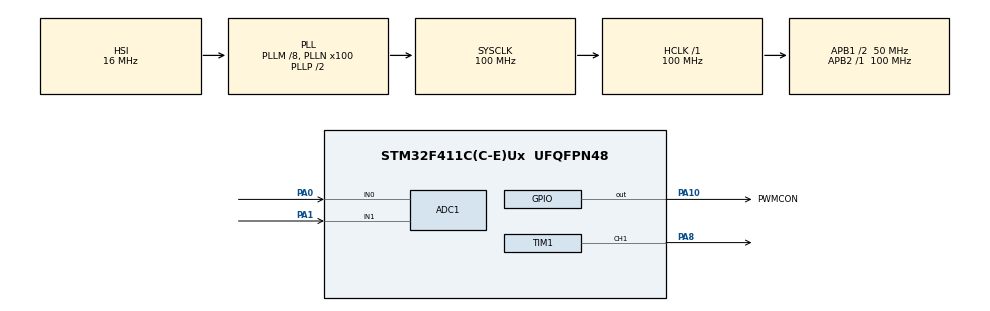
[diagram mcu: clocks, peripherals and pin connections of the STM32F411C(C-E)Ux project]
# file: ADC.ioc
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ADC1.Channel-0\#ChannelRegularConversion=ADC_CHANNEL_0
ADC1.Channel-1\#ChannelRegularConversion=ADC_CHANNEL_1
ADC1.ClockPrescaler=ADC_CLOCK_SYNC_PCLK_DIV6
ADC1.ContinuousConvMode=ENABLE
ADC1.DMAContinuousRequests=ENABLE
ADC1.NbrOfConversion=2
ADC1.NbrOfConversionFlag=1
ADC1.Rank-0\#ChannelRegularConversion=1
ADC1.Rank-1\#ChannelRegularConversion=2
ADC1.SamplingTime-0\#ChannelRegularConversion=ADC_SAMPLETIME_480CYCLES
ADC1.SamplingTime-1\#ChannelRegularConversion=ADC_SAMPLETIME_480CYCLES
ADC1.master=1
Dma.ADC1.0.Direction=DMA_PERIPH_TO_MEMORY
Dma.ADC1.0.FIFOMode=DMA_FIFOMODE_DISABLE
Dma.ADC1.0.Instance=DMA2_Stream0
Dma.ADC1.0.MemDataAlignment=DMA_MDATAALIGN_HALFWORD
Dma.ADC1.0.MemInc=DMA_MINC_ENABLE
Dma.ADC1.0.Mode=DMA_CIRCULAR
Dma.ADC1.0.PeriphDataAlignment=DMA_PDATAALIGN_HALFWORD
Dma.ADC1.0.PeriphInc=DMA_PINC_DISABLE
Dma.ADC1.0.Priority=DMA_PRIORITY_LOW
Dma.Request0=ADC1
Mcu.Family=STM32F4
Mcu.Name=STM32F411C(C-E)Ux
Mcu.Package=UFQFPN48
NVIC.DMA2_Stream0_IRQn=true\:0\:0\:false\:false\:true\:false\:true\:true
NVIC.PriorityGroup=NVIC_PRIORITYGROUP_4
NVIC.TIM2_IRQn=true\:0\:0\:false\:false\:true\:true\:true\:true
PA0-WKUP.Signal=ADCx_IN0
PA1.Signal=ADCx_IN1
PA10.GPIO_Label=PWMCON
PA10.PinState=GPIO_PIN_RESET
PA10.Signal=GPIO_Output
PA13.Mode=Serial_Wire
PA13.Signal=SYS_JTMS-SWDIO
PA14.Mode=Serial_Wire
PA14.Signal=SYS_JTCK-SWCLK
PA8.Signal=S_TIM1_CH1
PH0\ -\ OSC_IN.Mode=HSE-External-Oscillator
PH0\ -\ OSC_IN.Signal=RCC_OSC_IN
PH1\ -\ OSC_OUT.Mode=HSE-External-Oscillator
PH1\ -\ OSC_OUT.Signal=RCC_OSC_OUT
ProjectManager.HeapSize=0x200
ProjectManager.StackSize=0x400
ProjectManager.TargetToolchain=CMake
RCC.48MHZClocksFreq_Value=50000000
RCC.AHBFreq_Value=100000000
RCC.APB1CLKDivider=RCC_HCLK_DIV2
RCC.APB1Freq_Value=50000000
RCC.APB1TimFreq_Value=100000000
RCC.APB2Freq_Value=100000000
RCC.APB2TimFreq_Value=100000000
RCC.CortexFreq_Value=100000000
RCC.HCLKFreq_Value=100000000
RCC.HSE_VALUE=25000000
RCC.HSI_VALUE=16000000
RCC.LSE_VALUE=32768
RCC.PLLM=8
RCC.PLLN=100
RCC.SYSCLKFreq_VALUE=100000000
RCC.SYSCLKSource=RCC_SYSCLKSOURCE_PLLCLK
RCC.VCOOutputFreq_Value=200000000
SH.ADCx_IN0.0=ADC1_IN0,IN0
SH.ADCx_IN1.0=ADC1_IN1,IN1
SH.S_TIM1_CH1.0=TIM1_CH1,PWM Generation1 CH1
TIM1.Channel-PWM\ Generation1\ CH1=TIM_CHANNEL_1
TIM1.Period=200-1
TIM1.Prescaler=4
TIM2.Period=1000-1
TIM2.Prescaler=100-1
VP_TIM1_VS_ClockSourceINT.Mode=Internal
VP_TIM2_VS_ClockSourceINT.Mode=Internal
board=custom

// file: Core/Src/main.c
/* USER CODE BEGIN Header */
/**
 ******************************************************************************
 * @file           : main.c
 * @brief          : Main program body
 ******************************************************************************
 * @attention
 *
 * Copyright (c) 2025 STMicroelectronics.
 * All rights reserved.
 *
 * This software is licensed under terms that can be found in the LICENSE file
 * in the root directory of this software component.
 * If no LICENSE file comes with this software, it is provided AS-IS.
 *
 ******************************************************************************
 */
/* USER CODE END Header */
#include "main.h"
#include "adc.h"
#include "dma.h"
#include "tim.h"
#include "gpio.h"

/* USER CODE BEGIN PD */
#define CONTROL_PERIOD_S (0.001f) // 控制周期 1 ms
/* USER CODE END PD */

/* USER CODE BEGIN PV */
__attribute__((aligned(4))) uint16_t adc_buffer[2];

float v_adc = 0.0f;
float current = 0.0f;

float v_target = 36.00f;
float vadc_target = 0.0f;
float delta = 0.0f;
float base_duty = 0.0f;
float duty = 0.0f;

PI_Controller_t voltage_pi;
PIController v_pi;
/* 定义滤波器句柄 */
static IIR_LPF_HandleTypeDef lpf_vadc;
static IIR_LPF_HandleTypeDef lpf_current;
/* USER CODE END PV */

void SystemClock_Config(void);

/* USER CODE BEGIN 0 */

/**
 * @brief 电压拟合：根据vadc_target目标电压返回基础占空比
 */
static float BaseDuty_FromFit(float vadc_target)
{
  // 方法一：三次多项式拟合（更精确）
  float v2 = vadc_target * vadc_target;
  float v3 = v2 * vadc_target;
  return 100.0f * (-0.035971f * v3 + 0.355110f * v2 - 1.299556f * vadc_target + 2.059551f);

  // // 方法二：线性拟合（更高性能）
  // return 100.0f * (-0.221493f * vadc_target + 1.044567f);
}

/**
 * @brief 将输出电压转换为 ADC 目标电压（线性拟合）
 */
float calculate_vadc(float v_target)
{
  // 直接拟合@100Ohm Load
  // return 0.0743f * v_target - 0.0802f;

  // 电流补偿
  return 0.0743f * v_target - 1.0553 * current;
}

void HAL_TIM_PeriodElapsedCallback(TIM_HandleTypeDef *htim)
{
  if (htim->Instance == TIM2)
  {
    // ADC 原始采样
    float v_raw = adc_buffer[0] * 3.3f / 4096.0f;
    float i_raw = adc_buffer[1] * 3.3f / 4096.0f;

    // 滤波处理
    v_adc = IIR_LPF_Update(&lpf_vadc, v_raw);
    current = IIR_LPF_Update(&lpf_current, i_raw);

    // 不滤波
    //  v_adc = v_raw;
    //  current = i_raw;

    // PID 控制输出
    // delta = PI_Update(&voltage_pi, vadc_target, v_adc, CONTROL_PERIOD_S);
    delta = PIController_Update(&v_pi, vadc_target, v_adc);
    duty = base_duty + delta;

    // 限制输出占空比
    if (duty < 0.0f)
      duty = 0.0f;
    if (duty > 100.0f)
      duty = 100.0f;

    // 应用 PWM
    Set_PWM_Duty(&htim1, TIM_CHANNEL_1, duty);
  }
}

/* USER CODE END 0 */

int main(void)
{

  /* MCU Configuration--------------------------------------------------------*/

  /* Reset of all peripherals, Initializes the Flash interface and the Systick. */
  HAL_Init();

  /* Configure the system clock */
  SystemClock_Config();

  /* Initialize all configured peripherals */
  MX_GPIO_Init();
  MX_DMA_Init();
  MX_ADC1_Init();
  MX_TIM1_Init();
  MX_TIM2_Init();
  /* USER CODE BEGIN 2 */
  // PI_Init(&voltage_pi, 2.0f, 120.0f, 500.0f);
  PIController_Init(&v_pi, 10.0f, 300.0f, 0.001f, -50.0f, 50.0f); // kp, ki, dt(1ms), min, max
  vadc_target = calculate_vadc(v_target);
  base_duty = BaseDuty_FromFit(vadc_target);

  HAL_TIM_PWM_Start(&htim1, TIM_CHANNEL_1);
  Set_PWM_Duty(&htim1, TIM_CHANNEL_1, 45); // 初始占空比
  /* 首次读取 ADC，获得初始值 */
  HAL_ADC_Start_DMA(&hadc1, (uint32_t *)adc_buffer, 2);
  HAL_Delay(10); // 等待 DMA 首次采样完成
  float v_init = adc_buffer[0] * 3.3f / 4096.0f;
  float curr_init = adc_buffer[1] * 3.3f / 4096.0f;
  /* 初始化滤波器，α 推荐 0.6 */
  IIR_LPF_Init(&lpf_vadc, 0.6f, v_init);
  IIR_LPF_Init(&lpf_current, 0.60f, curr_init);

  HAL_TIM_Base_Start_IT(&htim2); // 启动中断模式定时器
  /* USER CODE END 2 */

  /* Infinite loop */
  while (1)
  {

  }
}

void SystemClock_Config(void)
{
  RCC_OscInitTypeDef RCC_OscInitStruct = {0};
  RCC_ClkInitTypeDef RCC_ClkInitStruct = {0};

  /** Configure the main internal regulator output voltage
  */
  __HAL_RCC_PWR_CLK_ENABLE();
  __HAL_PWR_VOLTAGESCALING_CONFIG(PWR_REGULATOR_VOLTAGE_SCALE1);

  /** Initializes the RCC Oscillators according to the specified parameters
  * in the RCC_OscInitTypeDef structure.
  */
  RCC_OscInitStruct.OscillatorType = RCC_OSCILLATORTYPE_HSI;
  RCC_OscInitStruct.HSIState = RCC_HSI_ON;
  RCC_OscInitStruct.HSICalibrationValue = RCC_HSICALIBRATION_DEFAULT;
  RCC_OscInitStruct.PLL.PLLState = RCC_PLL_ON;
  RCC_OscInitStruct.PLL.PLLSource = RCC_PLLSOURCE_HSI;
  RCC_OscInitStruct.PLL.PLLM = 8;
  RCC_OscInitStruct.PLL.PLLN = 100;
  RCC_OscInitStruct.PLL.PLLP = RCC_PLLP_DIV2;
  RCC_OscInitStruct.PLL.PLLQ = 4;
  if (HAL_RCC_OscConfig(&RCC_OscInitStruct) != HAL_OK)
  {
    Error_Handler();
  }

  /** Initializes the CPU, AHB and APB buses clocks
  */
  RCC_ClkInitStruct.ClockType = RCC_CLOCKTYPE_HCLK|RCC_CLOCKTYPE_SYSCLK
                              |RCC_CLOCKTYPE_PCLK1|RCC_CLOCKTYPE_PCLK2;
  RCC_ClkInitStruct.SYSCLKSource = RCC_SYSCLKSOURCE_PLLCLK;
  RCC_ClkInitStruct.AHBCLKDivider = RCC_SYSCLK_DIV1;
  RCC_ClkInitStruct.APB1CLKDivider = RCC_HCLK_DIV2;
  RCC_ClkInitStruct.APB2CLKDivider = RCC_HCLK_DIV1;

  if (HAL_RCC_ClockConfig(&RCC_ClkInitStruct, FLASH_LATENCY_3) != HAL_OK)
  {
    Error_Handler();
  }
}

void Error_Handler(void)
{
  __disable_irq();
  while (1)
  {
  }
}

#ifdef  USE_FULL_ASSERT
/**
  * @brief  Reports the name of the source file and the source line number
  *         where the assert_param error has occurred.
  * @param  file: pointer to the source file name
  * @param  line: assert_param error line source number
  * @retval None
  */
void assert_failed(uint8_t *file, uint32_t line)
{
  /* USER CODE BEGIN 6 */
  // printf("Wrong parameters value: file %s on line %d\r\n", file, line);
  /* USER CODE END 6 */
}
#endif /* USE_FULL_ASSERT */
